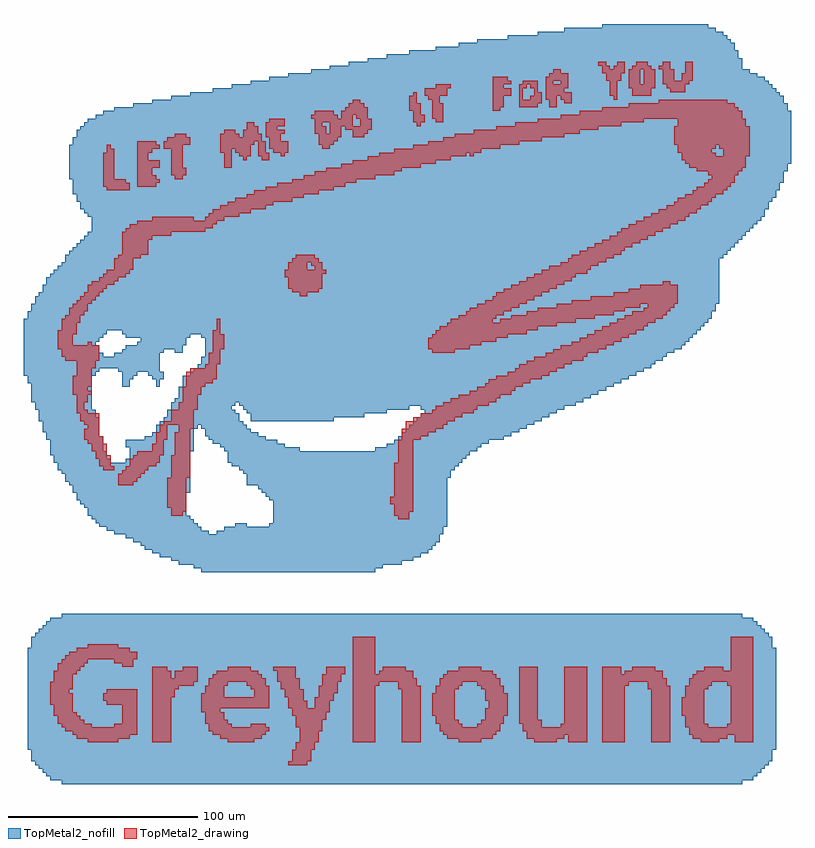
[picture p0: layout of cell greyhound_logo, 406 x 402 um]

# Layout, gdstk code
import gdstk
lib = gdstk.Library(unit=1e-6, precision=1e-09)
def P(c, l, *ps):  # polygons
    for p in ps: c.add(gdstk.Polygon(p, *l))
TopMetal2_drawing = (134, 0)
TopMetal2_nofill = (134, 23)

greyhound_logo = lib.new_cell('greyhound_logo')
P(greyhound_logo, TopMetal2_drawing, [(76,32),(76,72),(84,72),(84,70),(86,70),(86,66),(88,66),(88,70),(92,70),(92,72),(100,72),(100,64),(98,64),(98,62),(90,62),(90,60),(88,60),(88,56),(86,56),(86,32)],
  [(116,32),(116,34),(112,34),(112,36),(108,36),(108,38),(106,38),(106,42),(104,42),(104,48),(102,48),(102,58),(104,58),(104,62),(106,62),(106,64),(116,64),(116,62),(114,62),(114,56),(130,56),(130,60),(128,60),(128,62),(126,62),(126,64),(106,64),(106,66),(108,66),(108,68),(110,68),(110,70),(116,70),(116,72),(128,72),(128,70),(132,70),(132,68),(134,68),(134,66),(136,66),(136,62),(138,62),(138,50),(112,50),(112,48),(114,48),(114,44),(116,44),(116,42),(118,42),(118,40),(128,40),(128,42),(136,42),(136,40),(138,40),(138,38),(136,38),(136,36),(134,36),(134,34),(130,34),(130,32)],
  [(148,20),(148,22),(150,22),(150,28),(152,28),(152,32),(154,32),(154,40),(152,40),(152,46),(150,46),(150,50),(148,50),(148,56),(146,56),(146,60),(144,60),(144,64),(142,64),(142,70),(140,70),(140,72),(152,72),(152,66),(154,66),(154,60),(156,60),(156,54),(158,54),(158,50),(162,50),(162,56),(164,56),(164,62),(166,62),(166,68),(168,68),(168,72),(178,72),(178,68),(176,68),(176,64),(174,64),(174,58),(172,58),(172,54),(170,54),(170,48),(168,48),(168,44),(166,44),(166,38),(164,38),(164,32),(162,32),(162,28),(160,28),(160,22),(158,22),(158,20)],
  [(238,32),(238,34),(232,34),(232,36),(230,36),(230,38),(228,38),(228,42),(226,42),(226,46),(224,46),(224,58),(226,58),(226,62),(228,62),(228,64),(240,64),(240,62),(238,62),(238,60),(236,60),(236,44),(238,44),(238,42),(240,42),(240,40),(248,40),(248,42),(250,42),(250,44),(252,44),(252,50),(254,50),(254,54),(252,54),(252,60),(250,60),(250,62),(248,62),(248,64),(228,64),(228,66),(230,66),(230,68),(232,68),(232,70),(238,70),(238,72),(250,72),(250,70),(256,70),(256,68),(258,68),(258,66),(260,66),(260,62),(262,62),(262,58),(264,58),(264,46),(262,46),(262,42),(260,42),(260,38),(258,38),(258,36),(256,36),(256,34),(250,34),(250,32)],
  [(278,32),(278,34),(274,34),(274,38),(272,38),(272,42),(270,42),(270,72),(280,72),(280,44),(282,44),(282,40),(292,40),(292,42),(294,42),(294,72),(306,72),(306,32),(296,32),(296,36),(294,36),(294,34),(290,34),(290,32)],
  [(314,32),(314,72),(324,72),(324,68),(326,68),(326,70),(330,70),(330,72),(342,72),(342,70),(346,70),(346,66),(348,66),(348,62),(350,62),(350,32),(340,32),(340,60),(338,60),(338,64),(328,64),(328,62),(326,62),(326,32)],
  [(42,32),(42,34),(36,34),(36,36),(34,36),(34,38),(30,38),(30,40),(28,40),(28,42),(26,42),(26,46),(24,46),(24,52),(22,52),(22,64),(24,64),(24,70),(26,70),(26,74),(28,74),(28,76),(30,76),(30,78),(32,78),(32,80),(36,80),(36,82),(42,82),(42,84),(58,84),(58,82),(64,82),(64,80),(68,80),(68,76),(66,76),(66,72),(60,72),(60,74),(56,74),(56,76),(42,76),(42,74),(40,74),(40,72),(38,72),(38,70),(36,70),(36,68),(34,68),(34,60),(32,60),(32,58),(34,58),(34,48),(36,48),(36,46),(38,46),(38,44),(40,44),(40,42),(44,42),(44,40),(56,40),(56,42),(60,42),(60,52),(52,52),(52,54),(50,54),(50,58),(52,58),(52,60),(68,60),(68,36),(64,36),(64,34),(58,34),(58,32)],
  [(182,32),(182,88),(194,88),(194,68),(196,68),(196,70),(198,70),(198,72),(210,72),(210,70),(214,70),(214,66),(216,66),(216,62),(218,62),(218,32),(208,32),(208,60),(206,60),(206,64),(196,64),(196,62),(194,62),(194,32)],
  [(366,32),(366,34),(362,34),(362,36),(360,36),(360,40),(358,40),(358,46),(356,46),(356,56),(358,56),(358,62),(360,62),(360,64),(372,64),(372,62),(370,62),(370,60),(368,60),(368,42),(370,42),(370,40),(380,40),(380,42),(382,42),(382,62),(380,62),(380,64),(360,64),(360,66),(362,66),(362,68),(364,68),(364,70),(368,70),(368,72),(378,72),(378,70),(382,70),(382,88),(394,88),(394,32),(384,32),(384,36),(380,36),(380,34),(376,34),(376,32)],
  [(86,152),(86,156),(84,156),(84,172),(86,172),(86,184),(88,184),(88,196),(90,196),(90,200),(84,200),(84,192),(82,192),(82,184),(80,184),(80,180),(78,180),(78,178),(74,178),(74,176),(72,176),(72,174),(70,174),(70,172),(68,172),(68,170),(66,170),(66,168),(58,168),(58,174),(60,174),(60,176),(62,176),(62,178),(64,178),(64,182),(66,182),(66,184),(68,184),(68,186),(76,186),(76,190),(78,190),(78,196),(80,196),(80,200),(82,200),(82,202),(86,202),(86,208),(90,208),(90,212),(92,212),(92,220),(94,220),(94,228),(96,228),(96,230),(104,230),(104,232),(106,232),(106,238),(108,238),(108,250),(110,250),(110,256),(112,256),(112,248),(114,248),(114,240),(112,240),(112,232),(110,232),(110,224),(108,224),(108,222),(104,222),(104,220),(102,220),(102,216),(100,216),(100,208),(98,208),(98,198),(96,198),(96,172),(94,172),(94,154),(92,154),(92,152)],
  [(154,268),(154,270),(150,270),(150,272),(148,272),(148,278),(146,278),(146,282),(148,282),(148,286),(158,286),(158,282),(162,282),(162,284),(160,284),(160,286),(150,286),(150,288),(152,288),(152,290),(162,290),(162,288),(164,288),(164,286),(166,286),(166,282),(168,282),(168,280),(166,280),(166,272),(164,272),(164,270),(158,270),(158,268)],
  [(52,324),(52,326),(50,326),(50,344),(52,344),(52,348),(54,348),(54,346),(56,346),(56,330),(62,330),(62,328),(64,328),(64,324)],
  [(68,326),(68,350),(78,350),(78,348),(80,348),(80,346),(76,346),(76,344),(74,344),(74,340),(80,340),(80,336),(76,336),(76,332),(78,332),(78,330),(80,330),(80,328),(78,328),(78,326)],
  [(88,330),(88,332),(86,332),(86,346),(82,346),(82,350),(84,350),(84,352),(88,352),(88,354),(94,354),(94,352),(96,352),(96,348),(92,348),(92,336),(94,336),(94,332),(92,332),(92,330)],
  [(114,336),(114,344),(112,344),(112,354),(114,354),(114,356),(120,356),(120,354),(122,354),(122,352),(124,352),(124,356),(126,356),(126,360),(130,360),(130,358),(132,358),(132,354),(134,354),(134,350),(136,350),(136,344),(138,344),(138,340),(134,340),(134,342),(132,342),(132,350),(130,350),(130,348),(128,348),(128,342),(126,342),(126,340),(124,340),(124,342),(122,342),(122,344),(120,344),(120,346),(118,346),(118,336)],
  [(144,342),(144,344),(140,344),(140,346),(138,346),(138,352),(136,352),(136,360),(138,360),(138,362),(146,362),(146,358),(142,358),(142,356),(146,356),(146,354),(144,354),(144,350),(148,350),(148,344),(146,344),(146,342)],
  [(166,346),(166,348),(164,348),(164,354),(162,354),(162,360),(166,360),(166,358),(168,358),(168,354),(170,354),(170,360),(162,360),(162,362),(160,362),(160,364),(162,364),(162,366),(172,366),(172,364),(174,364),(174,362),(176,362),(176,364),(182,364),(182,358),(186,358),(186,362),(184,362),(184,364),(176,364),(176,366),(178,366),(178,368),(180,368),(180,370),(182,370),(182,372),(186,372),(186,370),(188,370),(188,368),(190,368),(190,362),(192,362),(192,356),(190,356),(190,354),(188,354),(188,352),(182,352),(182,356),(178,356),(178,358),(176,358),(176,352),(174,352),(174,350),(172,350),(172,348),(170,348),(170,346)],
  [(206,150),(206,152),(204,152),(204,158),(202,158),(202,162),(204,162),(204,180),(206,180),(206,192),(208,192),(208,198),(210,198),(210,202),(214,202),(214,204),(218,204),(218,206),(224,206),(224,208),(226,208),(226,210),(230,210),(230,212),(234,212),(234,214),(238,214),(238,216),(244,216),(244,218),(248,218),(248,220),(252,220),(252,222),(254,222),(254,224),(258,224),(258,226),(264,226),(264,228),(268,228),(268,230),(270,230),(270,232),(274,232),(274,234),(278,234),(278,236),(284,236),(284,238),(288,238),(288,240),(292,240),(292,242),(298,242),(298,244),(302,244),(302,246),(306,246),(306,248),(310,248),(310,250),(314,250),(314,252),(318,252),(318,254),(322,254),(322,256),(326,256),(326,258),(330,258),(330,260),(336,260),(336,262),(338,262),(338,264),(334,264),(334,262),(326,262),(326,260),(320,260),(320,258),(310,258),(310,256),(300,256),(300,254),(290,254),(290,252),(280,252),(280,250),(274,250),(274,248),(264,248),(264,246),(258,246),(258,244),(250,244),(250,242),(244,242),(244,240),(236,240),(236,238),(224,238),(224,240),(222,240),(222,246),(224,246),(224,248),(226,248),(226,250),(228,250),(228,252),(232,252),(232,254),(234,254),(234,256),(238,256),(238,258),(242,258),(242,260),(244,260),(244,262),(248,262),(248,264),(252,264),(252,266),(256,266),(256,268),(258,268),(258,270),(262,270),(262,272),(266,272),(266,274),(270,274),(270,276),(274,276),(274,278),(278,278),(278,280),(282,280),(282,282),(286,282),(286,284),(292,284),(292,286),(296,286),(296,288),(298,288),(298,290),(302,290),(302,292),(306,292),(306,294),(310,294),(310,296),(314,296),(314,298),(318,298),(318,300),(322,300),(322,302),(324,302),(324,304),(328,304),(328,306),(332,306),(332,308),(336,308),(336,310),(340,310),(340,312),(344,312),(344,314),(348,314),(348,316),(352,316),(352,318),(354,318),(354,320),(358,320),(358,322),(362,322),(362,324),(364,324),(364,326),(368,326),(368,328),(370,328),(370,330),(372,330),(372,332),(370,332),(370,334),(364,334),(364,336),(360,336),(360,338),(358,338),(358,340),(356,340),(356,344),(354,344),(354,348),(374,348),(374,346),(372,346),(372,344),(374,344),(374,342),(378,342),(378,346),(376,346),(376,348),(352,348),(352,358),(354,358),(354,362),(336,362),(336,360),(324,360),(324,358),(312,358),(312,356),(302,356),(302,354),(294,354),(294,352),(282,352),(282,350),(270,350),(270,348),(260,348),(260,346),(250,346),(250,344),(246,344),(246,342),(244,342),(244,344),(242,344),(242,342),(234,342),(234,340),(226,340),(226,338),(218,338),(218,336),(208,336),(208,334),(204,334),(204,332),(194,332),(194,330),(184,330),(184,328),(178,328),(178,326),(172,326),(172,324),(164,324),(164,322),(156,322),(156,320),(150,320),(150,318),(140,318),(140,316),(136,316),(136,314),(128,314),(128,312),(122,312),(122,310),(114,310),(114,308),(110,308),(110,306),(108,306),(108,304),(104,304),(104,302),(86,302),(86,300),(76,300),(76,298),(74,298),(74,290),(70,290),(70,288),(66,288),(66,282),(64,282),(64,280),(62,280),(62,278),(58,278),(58,276),(56,276),(56,274),(52,274),(52,272),(50,272),(50,270),(48,270),(48,268),(46,268),(46,266),(44,266),(44,264),(42,264),(42,260),(40,260),(40,258),(38,258),(38,254),(36,254),(36,248),(34,248),(34,242),(42,242),(42,244),(44,244),(44,242),(48,242),(48,234),(46,234),(46,230),(44,230),(44,220),(42,220),(42,218),(44,218),(44,216),(42,216),(42,212),(40,212),(40,208),(42,208),(42,206),(48,206),(48,194),(50,194),(50,190),(52,190),(52,184),(54,184),(54,178),(56,178),(56,176),(50,176),(50,178),(48,178),(48,182),(46,182),(46,186),(44,186),(44,190),(42,190),(42,192),(40,192),(40,198),(42,198),(42,200),(40,200),(40,202),(38,202),(38,206),(36,206),(36,216),(34,216),(34,226),(36,226),(36,234),(30,234),(30,236),(28,236),(28,240),(26,240),(26,250),(28,250),(28,256),(30,256),(30,258),(32,258),(32,262),(34,262),(34,264),(36,264),(36,266),(38,266),(38,268),(40,268),(40,270),(42,270),(42,274),(44,274),(44,276),(48,276),(48,278),(50,278),(50,280),(52,280),(52,282),(56,282),(56,288),(58,288),(58,290),(60,290),(60,302),(62,302),(62,304),(64,304),(64,306),(68,306),(68,308),(76,308),(76,310),(98,310),(98,308),(104,308),(104,310),(106,310),(106,312),(108,312),(108,314),(112,314),(112,316),(116,316),(116,318),(120,318),(120,320),(126,320),(126,322),(130,322),(130,324),(136,324),(136,326),(142,326),(142,328),(150,328),(150,330),(156,330),(156,332),(162,332),(162,334),(168,334),(168,336),(176,336),(176,338),(182,338),(182,340),(190,340),(190,342),(196,342),(196,344),(204,344),(204,346),(214,346),(214,348),(222,348),(222,350),(230,350),(230,352),(236,352),(236,354),(246,354),(246,356),(258,356),(258,358),(268,358),(268,360),(280,360),(280,362),(292,362),(292,364),(302,364),(302,366),(314,366),(314,368),(328,368),(328,370),(344,370),(344,372),(380,372),(380,370),(384,370),(384,368),(386,368),(386,366),(388,366),(388,362),(390,362),(390,358),(392,358),(392,342),(390,342),(390,336),(388,336),(388,334),(386,334),(386,332),(384,332),(384,328),(382,328),(382,326),(380,326),(380,324),(378,324),(378,322),(374,322),(374,320),(372,320),(372,318),(370,318),(370,316),(366,316),(366,314),(364,314),(364,312),(360,312),(360,310),(358,310),(358,308),(354,308),(354,306),(350,306),(350,304),(346,304),(346,302),(342,302),(342,300),(338,300),(338,298),(334,298),(334,296),(330,296),(330,294),(326,294),(326,292),(324,292),(324,290),(320,290),(320,288),(316,288),(316,286),(312,286),(312,284),(308,284),(308,282),(306,282),(306,280),(300,280),(300,278),(298,278),(298,276),(294,276),(294,274),(290,274),(290,272),(286,272),(286,270),(282,270),(282,268),(278,268),(278,266),(274,266),(274,264),(270,264),(270,262),(266,262),(266,260),(262,260),(262,258),(258,258),(258,256),(256,256),(256,254),(260,254),(260,256),(266,256),(266,258),(274,258),(274,260),(280,260),(280,262),(290,262),(290,264),(298,264),(298,266),(308,266),(308,268),(320,268),(320,270),(328,270),(328,272),(334,272),(334,274),(346,274),(346,276),(350,276),(350,274),(354,274),(354,264),(352,264),(352,262),(350,262),(350,260),(348,260),(348,258),(346,258),(346,256),(342,256),(342,254),(338,254),(338,252),(336,252),(336,250),(332,250),(332,248),(328,248),(328,246),(324,246),(324,244),(320,244),(320,242),(316,242),(316,240),(312,240),(312,238),(306,238),(306,236),(304,236),(304,234),(298,234),(298,232),(294,232),(294,230),(290,230),(290,228),(286,228),(286,226),(282,226),(282,224),(276,224),(276,222),(272,222),(272,220),(268,220),(268,218),(266,218),(266,216),(260,216),(260,214),(258,214),(258,212),(254,212),(254,210),(248,210),(248,208),(246,208),(246,206),(240,206),(240,204),(236,204),(236,202),(232,202),(232,200),(230,200),(230,198),(226,198),(226,196),(222,196),(222,194),(218,194),(218,192),(214,192),(214,154),(212,154),(212,150)],
  [(216,358),(216,360),(214,360),(214,366),(212,366),(212,374),(214,374),(214,376),(216,376),(216,370),(218,370),(218,364),(220,364),(220,360),(218,360),(218,358)],
  [(226,360),(226,362),(224,362),(224,372),(222,372),(222,374),(220,374),(220,378),(226,378),(226,380),(234,380),(234,378),(232,378),(232,374),(228,374),(228,370),(230,370),(230,360)],
  [(270,368),(270,380),(274,380),(274,378),(272,378),(272,372),(276,372),(276,374),(278,374),(278,378),(276,378),(276,380),(272,380),(272,382),(280,382),(280,376),(282,376),(282,370),(280,370),(280,368)],
  [(256,366),(256,384),(264,384),(264,382),(266,382),(266,380),(262,380),(262,378),(266,378),(266,374),(262,374),(262,368),(260,368),(260,366)],
  [(286,368),(286,372),(284,372),(284,382),(288,382),(288,380),(292,380),(292,382),(284,382),(284,384),(286,384),(286,386),(288,386),(288,388),(292,388),(292,386),(296,386),(296,378),(294,378),(294,376),(298,376),(298,370),(294,370),(294,372),(292,372),(292,374),(290,374),(290,368)],
  [(320,372),(320,374),(318,374),(318,382),(316,382),(316,386),(314,386),(314,390),(312,390),(312,392),(316,392),(316,390),(318,390),(318,388),(320,388),(320,390),(322,390),(322,392),(326,392),(326,386),(324,386),(324,382),(322,382),(322,372)],
  [(330,374),(330,378),(328,378),(328,388),(334,388),(334,380),(336,380),(336,388),(330,388),(330,390),(332,390),(332,392),(338,392),(338,390),(340,390),(340,388),(342,388),(342,378),(340,378),(340,374)],
  [(350,376),(350,378),(348,378),(348,380),(346,380),(346,388),(344,388),(344,390),(346,390),(346,392),(350,392),(350,388),(352,388),(352,382),(356,382),(356,386),(358,386),(358,392),(362,392),(362,382),(360,382),(360,380),(358,380),(358,376)])
P(greyhound_logo, TopMetal2_nofill, [(28,10),(28,12),(22,12),(22,14),(20,14),(20,16),(18,16),(18,18),(16,18),(16,20),(14,20),(14,22),(12,22),(12,28),(10,28),(10,82),(12,82),(12,88),(14,88),(14,90),(16,90),(16,92),(18,92),(18,94),(20,94),(20,96),(22,96),(22,98),(28,98),(28,100),(388,100),(388,98),(394,98),(394,96),(396,96),(396,94),(398,94),(398,92),(400,92),(400,90),(402,90),(402,88),(404,88),(404,82),(406,82),(406,28),(404,28),(404,22),(402,22),(402,20),(400,20),(400,18),(398,18),(398,16),(396,16),(396,14),(394,14),(394,12),(388,12),(388,10)],
  [(102,122),(102,124),(98,124),(98,126),(90,126),(90,128),(86,128),(86,130),(80,130),(80,132),(76,132),(76,134),(72,134),(72,136),(70,136),(70,138),(66,138),(66,140),(62,140),(62,142),(56,142),(56,144),(52,144),(52,146),(48,146),(48,148),(46,148),(46,150),(44,150),(44,152),(42,152),(42,156),(40,156),(40,158),(38,158),(38,160),(36,160),(36,164),(34,164),(34,168),(32,168),(32,170),(30,170),(30,174),(28,174),(28,176),(26,176),(26,180),(24,180),(24,184),(22,184),(22,192),(20,192),(20,196),(18,196),(18,202),(16,202),(16,208),(14,208),(14,212),(12,212),(12,222),(10,222),(10,226),(8,226),(8,250),(52,250),(52,248),(50,248),(50,246),(48,246),(48,244),(46,244),(46,242),(48,242),(48,238),(50,238),(50,236),(56,236),(56,238),(60,238),(60,240),(62,240),(62,242),(68,242),(68,244),(70,244),(70,246),(62,246),(62,248),(96,248),(96,246),(94,246),(94,242),(92,242),(92,238),(88,238),(88,240),(82,240),(82,238),(80,238),(80,228),(82,228),(82,224),(80,224),(80,220),(78,220),(78,224),(76,224),(76,226),(74,226),(74,228),(68,228),(68,226),(66,226),(66,224),(64,224),(64,220),(60,220),(60,228),(58,228),(58,230),(48,230),(48,228),(46,228),(46,226),(44,226),(44,208),(46,208),(46,204),(48,204),(48,194),(50,194),(50,186),(52,186),(52,182),(54,182),(54,180),(62,180),(62,182),(64,182),(64,188),(62,188),(62,192),(72,192),(72,194),(76,194),(76,196),(78,196),(78,200),(100,200),(100,198),(98,198),(98,186),(96,186),(96,164),(94,164),(94,152),(96,152),(96,150),(98,150),(98,148),(100,148),(100,146),(102,146),(102,144),(106,144),(106,142),(110,142),(110,144),(114,144),(114,146),(120,146),(120,148),(126,148),(126,146),(138,146),(138,148),(140,148),(140,160),(138,160),(138,162),(136,162),(136,164),(134,164),(134,166),(132,166),(132,168),(126,168),(126,174),(124,174),(124,176),(122,176),(122,178),(118,178),(118,180),(116,180),(116,186),(114,186),(114,188),(112,188),(112,190),(108,190),(108,192),(106,192),(106,194),(104,194),(104,198),(102,198),(102,200),(80,200),(80,202),(82,202),(82,204),(84,204),(84,208),(86,208),(86,212),(120,212),(120,210),(118,210),(118,208),(120,208),(120,206),(122,206),(122,202),(124,202),(124,200),(126,200),(126,198),(128,198),(128,196),(132,196),(132,194),(136,194),(136,192),(142,192),(142,190),(146,190),(146,188),(154,188),(154,186),(194,186),(194,188),(200,188),(200,190),(204,190),(204,192),(206,192),(206,194),(208,194),(208,196),(210,196),(210,198),(212,198),(212,200),(214,200),(214,202),(216,202),(216,204),(218,204),(218,206),(220,206),(220,208),(218,208),(218,210),(212,210),(212,208),(200,208),(200,206),(188,206),(188,204),(172,204),(172,202),(128,202),(128,206),(126,206),(126,208),(124,208),(124,210),(122,210),(122,212),(88,212),(88,214),(90,214),(90,220),(92,220),(92,226),(96,226),(96,228),(98,228),(98,230),(100,230),(100,232),(102,232),(102,236),(104,236),(104,246),(102,246),(102,248),(60,248),(60,250),(8,250),(8,256),(10,256),(10,260),(12,260),(12,264),(14,264),(14,268),(16,268),(16,270),(18,270),(18,274),(20,274),(20,278),(22,278),(22,280),(24,280),(24,282),(26,282),(26,284),(28,284),(28,286),(30,286),(30,290),(32,290),(32,292),(34,292),(34,294),(36,294),(36,296),(38,296),(38,298),(40,298),(40,300),(42,300),(42,302),(44,302),(44,310),(42,310),(42,312),(40,312),(40,314),(38,314),(38,318),(36,318),(36,322),(34,322),(34,330),(32,330),(32,348),(34,348),(34,352),(36,352),(36,356),(38,356),(38,358),(40,358),(40,360),(42,360),(42,362),(46,362),(46,364),(50,364),(50,366),(56,366),(56,368),(66,368),(66,370),(76,370),(76,372),(86,372),(86,374),(96,374),(96,376),(108,376),(108,378),(118,378),(118,380),(128,380),(128,382),(138,382),(138,384),(148,384),(148,386),(160,386),(160,388),(170,388),(170,390),(180,390),(180,392),(190,392),(190,394),(200,394),(200,396),(212,396),(212,398),(226,398),(226,400),(238,400),(238,402),(248,402),(248,404),(264,404),(264,406),(280,406),(280,408),(294,408),(294,410),(314,410),(314,412),(370,412),(370,410),(374,410),(374,408),(378,408),(378,406),(380,406),(380,404),(382,404),(382,402),(384,402),(384,398),(386,398),(386,394),(388,394),(388,388),(392,388),(392,386),(396,386),(396,384),(400,384),(400,382),(402,382),(402,380),(404,380),(404,378),(406,378),(406,376),(408,376),(408,374),(410,374),(410,370),(412,370),(412,366),(414,366),(414,338),(412,338),(412,334),(410,334),(410,328),(408,328),(408,324),(406,324),(406,320),(404,320),(404,318),(402,318),(402,314),(400,314),(400,310),(398,310),(398,308),(396,308),(396,306),(394,306),(394,304),(392,304),(392,302),(390,302),(390,300),(388,300),(388,298),(386,298),(386,296),(384,296),(384,294),(382,294),(382,292),(380,292),(380,290),(378,290),(378,288),(376,288),(376,264),(374,264),(374,260),(372,260),(372,256),(370,256),(370,254),(368,254),(368,252),(366,252),(366,250),(364,250),(364,248),(362,248),(362,246),(360,246),(360,244),(358,244),(358,242),(356,242),(356,240),(352,240),(352,238),(348,238),(348,236),(346,236),(346,234),(342,234),(342,232),(340,232),(340,230),(336,230),(336,228),(332,228),(332,226),(328,226),(328,224),(324,224),(324,222),(320,222),(320,220),(316,220),(316,218),(312,218),(312,216),(308,216),(308,214),(304,214),(304,212),(300,212),(300,210),(294,210),(294,208),(290,208),(290,206),(286,206),(286,204),(282,204),(282,202),(278,202),(278,200),(274,200),(274,198),(270,198),(270,196),(266,196),(266,194),(262,194),(262,192),(254,192),(254,190),(250,190),(250,188),(248,188),(248,186),(244,186),(244,184),(242,184),(242,182),(240,182),(240,180),(238,180),(238,178),(236,178),(236,176),(234,176),(234,172),(232,172),(232,146),(230,146),(230,142),(228,142),(228,138),(226,138),(226,136),(224,136),(224,134),(222,134),(222,132),(218,132),(218,130),(214,130),(214,128),(208,128),(208,126),(198,126),(198,124),(194,124),(194,122)])

lib.write_gds('greyhound_logo.gds')
